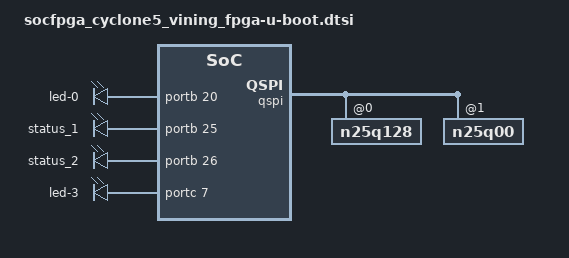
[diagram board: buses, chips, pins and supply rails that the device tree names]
// SPDX-License-Identifier: (GPL-2.0+ OR X11)
/*
 * U-Boot additions
 *
 * Copyright (C) 2015 Marek Vasut <marex@denx.de>
 * Copyright (c) 2018 Simon Goldschmidt
 */

#include "socfpga-common-u-boot.dtsi"

/{
	aliases {
		spi0 = "/soc/spi@ff705000";
		udc0 = &usb1;
	};

	leds {
		compatible = "gpio-leds";

		led-0 {
			default-state = "off";
			gpios = <&portb 20 GPIO_ACTIVE_HIGH>;
		};

		led-1 {
			default-state = "off";
			gpios = <&portb 25 GPIO_ACTIVE_HIGH>;
			label = "status_1";
		};

		led-2 {
			default-state = "off";
			gpios = <&portb 26 GPIO_ACTIVE_HIGH>;
			label = "status_2";
		};

		led-3 {
			default-state = "off";
			gpios = <&portc 7 GPIO_ACTIVE_HIGH>;
		};
	};
};

&mmc {
	status = "disabled";
};

&qspi {
	bootph-all;

	n25q128@0 {
		compatible = "n25q128", "jedec,spi-nor";
		bootph-all;
	};
	n25q00@1 {
		compatible = "n25q00", "jedec,spi-nor";
		bootph-all;
	};
};

&uart0 {
	clock-frequency = <100000000>;
	bootph-all;
};

&uart1 {
	clock-frequency = <100000000>;
};

&porta {
	bank-name = "porta";
};

&portb {
	bank-name = "portb";
};

&portc {
	bank-name = "portc";
};

&watchdog0 {
	bootph-all;
};
